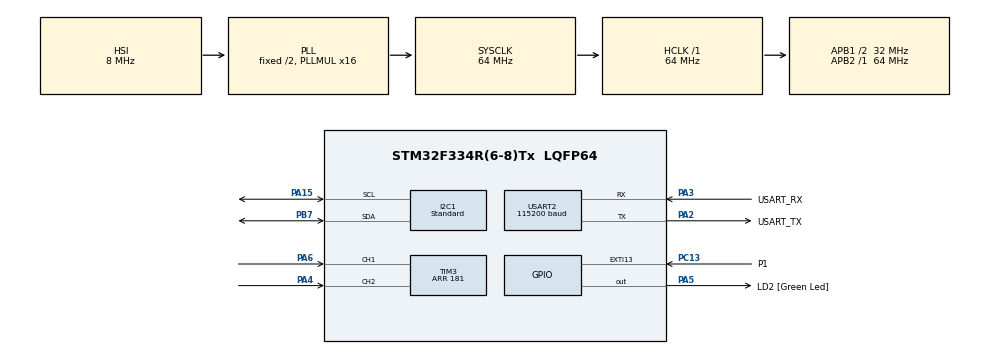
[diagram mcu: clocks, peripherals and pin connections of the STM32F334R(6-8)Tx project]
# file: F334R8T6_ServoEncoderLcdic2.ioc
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I2C1.I2C_Speed_Mode=I2C_Standard
I2C1.Timing=0x2000090E
Mcu.Family=STM32F3
Mcu.Name=STM32F334R(6-8)Tx
Mcu.Package=LQFP64
NVIC.EXTI15_10_IRQn=true\:0\:0\:false\:false\:true\:true\:true\:true
NVIC.PriorityGroup=NVIC_PRIORITYGROUP_0
PA12.Signal=S_TIM16_CH1
PA13.GPIO_Label=TMS
PA13.Mode=Serial_Wire
PA13.Signal=SYS_JTMS-SWDIO
PA14.GPIO_Label=TCK
PA14.Mode=Serial_Wire
PA14.Signal=SYS_JTCK-SWCLK
PA15.Mode=I2C
PA15.Signal=I2C1_SCL
PA2.GPIO_Label=USART_TX
PA2.Mode=Asynchronous
PA2.Signal=USART2_TX
PA3.GPIO_Label=USART_RX
PA3.Mode=Asynchronous
PA3.Signal=USART2_RX
PA4.Signal=S_TIM3_CH2
PA5.GPIO_Label=LD2 [Green Led]
PA5.Signal=GPIO_Output
PA6.Signal=S_TIM3_CH1
PB3.GPIO_Label=SWO
PB3.Signal=SYS_JTDO-TRACESWO
PB7.Mode=I2C
PB7.Signal=I2C1_SDA
PC13.GPIO_Label=P1
PC13.GPIO_ModeDefaultEXTI=GPIO_MODE_IT_FALLING
PC13.Signal=GPXTI13
PC14\ /\ OSC32_IN.Mode=LSE-External-Oscillator
PC14\ /\ OSC32_IN.Signal=RCC_OSC32_IN
PC15\ /\ OSC32_OUT.GPIO_Label=RCC_OSC32_OUT
PC15\ /\ OSC32_OUT.Mode=LSE-External-Oscillator
PC15\ /\ OSC32_OUT.Signal=RCC_OSC32_OUT
PF0\ /\ OSC_IN.Mode=HSE-External-Clock-Source
PF0\ /\ OSC_IN.Signal=RCC_OSC_IN
PF1\ /\ OSC_OUT.Signal=RCC_OSC_OUT
ProjectManager.HeapSize=0x200
ProjectManager.StackSize=0x400
ProjectManager.TargetToolchain=STM32CubeIDE
RCC.AHBFreq_Value=64000000
RCC.APB1CLKDivider=RCC_HCLK_DIV2
RCC.APB1Freq_Value=32000000
RCC.APB1TimFreq_Value=64000000
RCC.APB2Freq_Value=64000000
RCC.APB2TimFreq_Value=64000000
RCC.CortexFreq_Value=64000000
RCC.FLatency-AdvancedSettings=FLASH_LATENCY_2
RCC.HCLKFreq_Value=64000000
RCC.HSE_VALUE=8000000
RCC.HSI_VALUE=8000000
RCC.PLLMUL=RCC_PLL_MUL16
RCC.SYSCLKFreq_VALUE=64000000
RCC.SYSCLKSourceVirtual=RCC_SYSCLKSOURCE_PLLCLK
SH.S_TIM16_CH1.0=TIM16_CH1
SH.S_TIM3_CH1.0=TIM3_CH1,Encoder_Interface
SH.S_TIM3_CH2.0=TIM3_CH2,Encoder_Interface
TIM16.Channel=TIM_CHANNEL_1
TIM16.Period=19999
TIM16.Prescaler=63
TIM3.Period=181
USART2.BaudRate=115200
USART2.VirtualMode-Asynchronous=VM_ASYNC
VP_TIM16_VS_ClockSourceINT.Mode=Enable_Timer
VP_TIM16_VS_no_output1.Mode=PWM Generation1 No Output
board=NUCLEO-F334R8

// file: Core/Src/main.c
/* USER CODE BEGIN Header */
/**
  ******************************************************************************
  * @file           : main.c
  * @brief          : Main program body
  ******************************************************************************
  * @attention
  *
  * Copyright (c) 2022 STMicroelectronics.
  * All rights reserved.
  *
  * This software is licensed under terms that can be found in the LICENSE file
  * in the root directory of this software component.
  * If no LICENSE file comes with this software, it is provided AS-IS.
  *
  ******************************************************************************
  */
/* USER CODE END Header */
#include "main.h"
#include "i2c.h"
#include "tim.h"
#include "usart.h"
#include "gpio.h"

/* USER CODE BEGIN Includes */
#include <stdio.h>
#include <string.h>
#include "servo.h"
#include "lcd_i2c.h"
#include "menu.h"
#include <stdbool.h>
/* USER CODE END Includes */

/* USER CODE BEGIN PV */
struct lcd_disp disp;
uint8_t count;
/* USER CODE END PV */

void SystemClock_Config(void);

int main(void)
{

  /* MCU Configuration--------------------------------------------------------*/

  /* Reset of all peripherals, Initializes the Flash interface and the Systick. */
  HAL_Init();

  /* Configure the system clock */
  SystemClock_Config();

  /* Initialize all configured peripherals */
  MX_GPIO_Init();
  MX_USART2_UART_Init();
  MX_TIM3_Init();
  MX_TIM16_Init();
  MX_I2C1_Init();
  /* USER CODE BEGIN 2 */
  HAL_TIM_PWM_Start(&htim16, TIM_CHANNEL_1 );//incjalizuje timer16 chanel1 jako pwm output
  HAL_TIM_Encoder_Start(&htim3, TIM_CHANNEL_ALL);
  disp.addr= (0x27<<1);
  disp.bl= true;
  lcd_init(&disp);
  sprintf((char*)disp.f_line,"Napierdalaj");
  sprintf((char*)disp.s_line,"Rusz tym");
  lcd_display(&disp);
   	  char msg[64];

   	uint8_t oldcount=0;
   	menu_refresh(&disp);
  /* USER CODE END 2 */

  /* Infinite loop */
  /* USER CODE BEGIN WHILE */

  while (1)
  {

	 count=__HAL_TIM_GET_COUNTER(&htim3)/2;
	 if(oldcount!=count){
		 oldcount=count;
		 sprintf((char*)msg,"NIGGA: %d\n",count);
	 	 HAL_UART_Transmit(&huart2, (uint8_t*)msg, strlen(msg), 1000);
	 	 //change_cursor(&disp,4);
	 	 sprintf((char*)disp.s_line,"%d",count);
	 	lcd_display(&disp);

	 }

    /* USER CODE END WHILE */

  }
}

void SystemClock_Config(void)
{
  RCC_OscInitTypeDef RCC_OscInitStruct = {0};
  RCC_ClkInitTypeDef RCC_ClkInitStruct = {0};
  RCC_PeriphCLKInitTypeDef PeriphClkInit = {0};

  /** Initializes the RCC Oscillators according to the specified parameters
  * in the RCC_OscInitTypeDef structure.
  */
  RCC_OscInitStruct.OscillatorType = RCC_OSCILLATORTYPE_HSI;
  RCC_OscInitStruct.HSIState = RCC_HSI_ON;
  RCC_OscInitStruct.HSICalibrationValue = RCC_HSICALIBRATION_DEFAULT;
  RCC_OscInitStruct.PLL.PLLState = RCC_PLL_ON;
  RCC_OscInitStruct.PLL.PLLSource = RCC_PLLSOURCE_HSI;
  RCC_OscInitStruct.PLL.PLLMUL = RCC_PLL_MUL16;
  if (HAL_RCC_OscConfig(&RCC_OscInitStruct) != HAL_OK)
  {
    Error_Handler();
  }

  /** Initializes the CPU, AHB and APB buses clocks
  */
  RCC_ClkInitStruct.ClockType = RCC_CLOCKTYPE_HCLK|RCC_CLOCKTYPE_SYSCLK
                              |RCC_CLOCKTYPE_PCLK1|RCC_CLOCKTYPE_PCLK2;
  RCC_ClkInitStruct.SYSCLKSource = RCC_SYSCLKSOURCE_PLLCLK;
  RCC_ClkInitStruct.AHBCLKDivider = RCC_SYSCLK_DIV1;
  RCC_ClkInitStruct.APB1CLKDivider = RCC_HCLK_DIV2;
  RCC_ClkInitStruct.APB2CLKDivider = RCC_HCLK_DIV1;

  if (HAL_RCC_ClockConfig(&RCC_ClkInitStruct, FLASH_LATENCY_2) != HAL_OK)
  {
    Error_Handler();
  }
  PeriphClkInit.PeriphClockSelection = RCC_PERIPHCLK_I2C1;
  PeriphClkInit.I2c1ClockSelection = RCC_I2C1CLKSOURCE_HSI;
  if (HAL_RCCEx_PeriphCLKConfig(&PeriphClkInit) != HAL_OK)
  {
    Error_Handler();
  }
}

/* USER CODE BEGIN 4 */
void HAL_GPIO_EXTI_Callback(uint16_t GPIO_Pin)
{
	if(GPIO_Pin== P1_Pin)
	{
		HAL_GPIO_TogglePin(LD2_GPIO_Port, LD2_Pin);
		set_ang(count*20);
	}

}
/* USER CODE END 4 */

void Error_Handler(void)
{
  __disable_irq();
  while (1)
  {
  }
}
